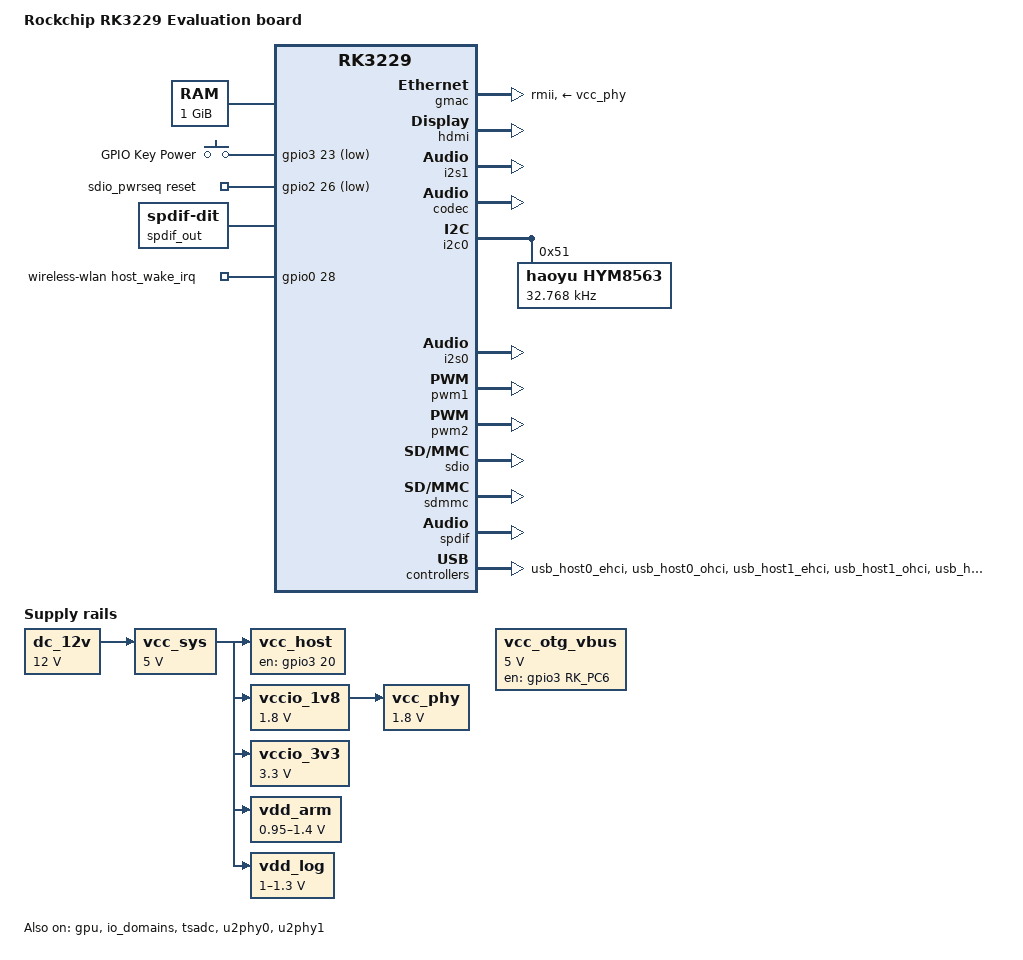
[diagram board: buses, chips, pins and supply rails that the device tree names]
// SPDX-License-Identifier: (GPL-2.0+ OR MIT)

/dts-v1/;

#include "rk322x.dtsi"
#include "rk3229-cpu-opp.dtsi"
#include "rk322x-android.dtsi"

/ {
	model = "Rockchip RK3229 Evaluation board";
	compatible = "rockchip,rk3229-evb", "rockchip,rk3229";

	memory@60000000 {
		device_type = "memory";
		reg = <0x60000000 0x40000000>;
	};

	dc_12v: dc-12v-regulator {
		compatible = "regulator-fixed";
		regulator-name = "dc_12v";
		regulator-always-on;
		regulator-boot-on;
		regulator-min-microvolt = <12000000>;
		regulator-max-microvolt = <12000000>;
	};

	gpio_keys {
		compatible = "gpio-keys";
		#address-cells = <1>;
		#size-cells = <0>;
		autorepeat;

		pinctrl-names = "default";
		pinctrl-0 = <&pwr_key>;

		power_key: power-key {
			label = "GPIO Key Power";
			gpios = <&gpio3 23 GPIO_ACTIVE_LOW>;
			linux,code = <KEY_POWER>;
			debounce-interval = <100>;
			wakeup-source;
		};
	};

	hdmi_sound: hdmi-sound {
		status = "okay";
		compatible = "simple-audio-card";
		simple-audio-card,format = "i2s";
		simple-audio-card,mclk-fs = <256>;
		simple-audio-card,name = "rockchip,hdmi";
		simple-audio-card,cpu {
			sound-dai = <&i2s0>;
		};
		simple-audio-card,codec {
			sound-dai = <&hdmi>;
		};
	};

	reserved-memory {
		#address-cells = <1>;
		#size-cells = <1>;
		ranges;

		trust_reserved: trust@0x68400000 {
			reg = <0x68400000 0xe00000>;
			no-map;
		};
	};

	sdio_pwrseq: sdio-pwrseq {
		compatible = "mmc-pwrseq-simple";
		clocks = <&hym8563>;
		clock-names = "ext_clock";
		pinctrl-names = "default";
		pinctrl-0 = <&wifi_enable_h>;

		/*
		 * On the module itself this is one of these (depending
		 * on the actual card populated):
		 * - SDIO_RESET_L_WL_REG_ON
		 * - PDN (power down when low)
		 */
		reset-gpios = <&gpio2 26 GPIO_ACTIVE_LOW>; /* GPIO2_D2 */
	};

	sound {
		compatible = "simple-audio-card";
		simple-audio-card,format = "i2s";
		simple-audio-card,mclk-fs = <256>;
		simple-audio-card,name = "rockchip,rk3229";
		simple-audio-card,cpu {
			sound-dai = <&i2s1>;
		};
		simple-audio-card,codec {
			sound-dai = <&codec>;
		};
	};

	spdif_out: spdif-out {
		status = "okay";
		compatible = "linux,spdif-dit";
		#sound-dai-cells = <0>;
	};

	spdif-sound {
		status = "okay";
		compatible = "simple-audio-card";
		simple-audio-card,name = "ROCKCHIP,SPDIF";
		simple-audio-card,cpu {
			sound-dai = <&spdif>;
		};
		simple-audio-card,codec {
			sound-dai = <&spdif_out>;
		};
	};

	vcc_host: vcc-host-regulator {
		compatible = "regulator-fixed";
		enable-active-high;
		gpio = <&gpio3 20 GPIO_ACTIVE_HIGH>;
		pinctrl-names = "default";
		pinctrl-0 = <&host_vbus_drv>;
		regulator-name = "vcc_host";
		regulator-always-on;
		regulator-boot-on;
		vin-supply = <&vcc_sys>;
	};

	vcc_otg_vbus: otg-vbus-regulator {
		compatible = "regulator-fixed";
		gpio = <&gpio3 RK_PC6 GPIO_ACTIVE_HIGH>;
		pinctrl-names = "default";
		pinctrl-0 = <&otg_vbus_drv>;
		regulator-name = "vcc_otg_vbus";
		regulator-min-microvolt = <5000000>;
		regulator-max-microvolt = <5000000>;
		enable-active-high;
	};

	vcc_phy: vcc-phy-regulator {
		compatible = "regulator-fixed";
		enable-active-high;
		regulator-name = "vcc_phy";
		regulator-min-microvolt = <1800000>;
		regulator-max-microvolt = <1800000>;
		regulator-always-on;
		regulator-boot-on;
		vin-supply = <&vccio_1v8>;
	};

	vcc_sys: vcc-sys-regulator {
		compatible = "regulator-fixed";
		regulator-name = "vcc_sys";
		regulator-always-on;
		regulator-boot-on;
		regulator-min-microvolt = <5000000>;
		regulator-max-microvolt = <5000000>;
		vin-supply = <&dc_12v>;
	};

	vccio_1v8: vccio-1v8-regulator {
		compatible = "regulator-fixed";
		regulator-name = "vccio_1v8";
		regulator-min-microvolt = <1800000>;
		regulator-max-microvolt = <1800000>;
		regulator-always-on;
		vin-supply = <&vcc_sys>;
	};

	vccio_3v3: vccio-3v3-regulator {
		compatible = "regulator-fixed";
		regulator-name = "vccio_3v3";
		regulator-min-microvolt = <3300000>;
		regulator-max-microvolt = <3300000>;
		regulator-always-on;
		vin-supply = <&vcc_sys>;
	};

	vdd_arm: vdd-arm-regulator {
		compatible = "pwm-regulator";
		rockchip,pwm_id = <1>;
		rockchip,pwm_voltage = <1100000>;
		pwms = <&pwm1 0 25000 1>;
		pwm-supply = <&vcc_sys>;
		regulator-name = "vdd_arm";
		regulator-min-microvolt = <950000>;
		regulator-max-microvolt = <1400000>;
		regulator-always-on;
		regulator-boot-on;
	};

	vdd_log: vdd-log-regulator {
		compatible = "pwm-regulator";
		rockchip,pwm_id = <2>;
		rockchip,pwm_voltage = <1200000>;
		pwms = <&pwm2 0 25000 1>;
		pwm-supply = <&vcc_sys>;
		regulator-name = "vdd_log";
		regulator-min-microvolt = <1000000>;
		regulator-max-microvolt = <1300000>;
		regulator-always-on;
		regulator-boot-on;
	};

	wireless-wlan {
		compatible = "wlan-platdata";
		rockchip,grf = <&grf>;
		wifi_chip_type = "ap6335";
		sdio_vref = <1800>;
		WIFI,host_wake_irq = <&gpio0 28 GPIO_ACTIVE_HIGH>;
		status = "okay";
	};
};

&cpu0 {
	cpu-supply = <&vdd_arm>;
};

&cpu1 {
	cpu-supply = <&vdd_arm>;
};

&cpu2 {
	cpu-supply = <&vdd_arm>;
};

&cpu3 {
	cpu-supply = <&vdd_arm>;
};

&gmac {
	assigned-clocks = <&cru SCLK_MAC_SRC>;
	assigned-clock-rates = <50000000>;
	clock_in_out = "output";
	phy-supply = <&vcc_phy>;
	phy-mode = "rmii";
	phy-is-integrated;
	status = "okay";
};

&gpu {
	status = "okay";
	mali-supply = <&vdd_log>;
};

&hdmi {
	status = "okay";
	#sound-dai-cells = <0>;
	ddc-i2c-scl-high-time-ns = <9625>;
	ddc-i2c-scl-low-time-ns = <10000>;
};

&io_domains {
	status = "okay";

	vccio1-supply = <&vccio_3v3>;
	vccio2-supply = <&vccio_1v8>;
	vccio4-supply = <&vccio_3v3>;
};

&i2s1 {
	#sound-dai-cells = <0>;
	status = "okay";
};

&codec {
	#sound-dai-cells = <0>;
	status = "okay";
};

&i2c0 {
	status = "okay";

	hym8563: hym8563@51 {
		compatible = "haoyu,hym8563";
		reg = <0x51>;
		#clock-cells = <0>;
		clock-frequency = <32768>;
		clock-output-names = "xin32k";
	};
};

&i2s0 {
	status = "okay";
	rockchip,bclk-fs = <128>;
	#sound-dai-cells = <0>;
};

&pinctrl {
	keys {
		pwr_key: pwr-key {
			rockchip,pins = <3 23 RK_FUNC_GPIO &pcfg_pull_up>;
		};
	};

	sdmmc {
		sdmmc_pwr: sdmmc-pwr {
			rockchip,pins = <1 14 RK_FUNC_GPIO &pcfg_pull_none>;
		};
	};

	sdio-pwrseq {
		wifi_enable_h: wifi-enable-h {
			rockchip,pins = <2 26 RK_FUNC_GPIO &pcfg_pull_none>;
		};
	};

	usb {
		host_vbus_drv: host-vbus-drv {
			rockchip,pins = <3 20 RK_FUNC_GPIO &pcfg_pull_none>;
		};

		otg_vbus_drv: otg-vbus-drv {
			rockchip,pins = <3 RK_PC6 RK_FUNC_GPIO &pcfg_pull_none>;
		};
	};
};

&pwm1 {
	status = "okay";
	pinctrl-names = "active";
	pinctrl-0 = <&pwm1_pin_pull_down>;
};

&pwm2 {
	status = "okay";
	pinctrl-names = "active";
	pinctrl-0 = <&pwm2_pin_pull_up>;
};

&tsadc {
	rockchip,hw-tshut-mode = <0>; /* tshut mode 0:CRU 1:GPIO */
	status = "okay";
};

&sdio {
	status = "okay";
	mmc-pwrseq = <&sdio_pwrseq>;
};

&sdmmc {
	status = "okay";
	pinctrl-names = "default";
	pinctrl-0 = <&sdmmc_pwr &sdmmc_clk &sdmmc_cmd &sdmmc_bus4>;
};

&spdif {
	status = "okay";
	#sound-dai-cells = <0>;
};

&u2phy0 {
	status = "okay";

	u2phy0_otg: otg-port {
		status = "okay";
	};

	u2phy0_host: host-port {
		phy-supply = <&vcc_host>;
		status = "okay";
	};
};

&u2phy1 {
	status = "okay";

	u2phy1_otg: otg-port {
		phy-supply = <&vcc_host>;
		status = "okay";
	};

	u2phy1_host: host-port {
		phy-supply = <&vcc_host>;
		status = "okay";
	};
};

&u2phy0_otg {
	vbus-supply = <&vcc_otg_vbus>;
};

&usb_host0_ehci {
	status = "okay";
};

&usb_host0_ohci {
	status = "okay";
};

&usb_host1_ehci {
	status = "okay";
};

&usb_host1_ohci {
	status = "okay";
};

&usb_host2_ehci {
	status = "okay";
};

&usb_host2_ohci {
	status = "okay";
};

&usb_otg {
	status = "okay";
};
